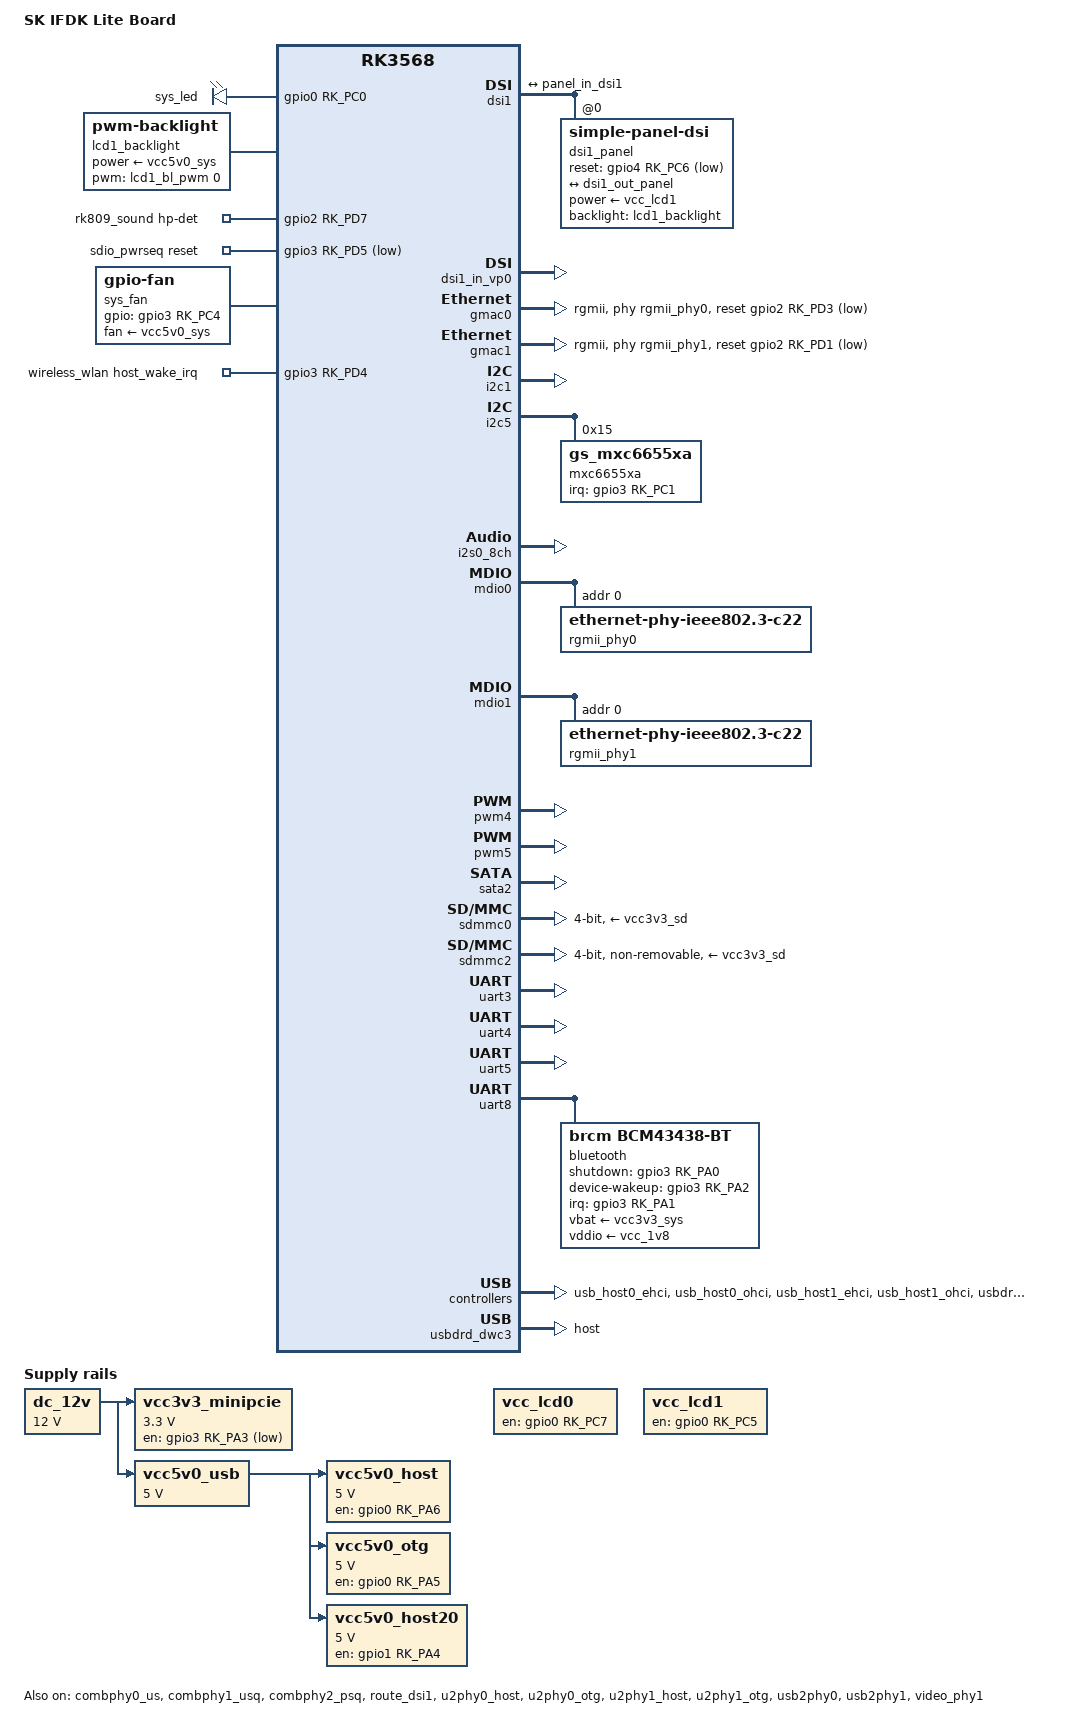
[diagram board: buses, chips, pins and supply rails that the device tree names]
// SPDX-License-Identifier: (GPL-2.0+ OR MIT)
/*
* Copyright (c) 2025 Sergey Kharenko
* Copyright (c) 2021 Rockchip Electronics Co., Ltd.
*/

/dts-v1/;

#include <dt-bindings/display/drm_mipi_dsi.h>
#include <dt-bindings/display/rockchip_vop.h>
#include <dt-bindings/gpio/gpio.h>
#include <dt-bindings/input/rk-input.h>
#include <dt-bindings/leds/common.h>
#include <dt-bindings/pinctrl/rockchip.h>
#include <dt-bindings/pwm/pwm.h>
#include <dt-bindings/sensor-dev.h>
#include "rk3568.dtsi"
#include "rk3568-linux.dtsi"
#include "rk3568-sk-ifdk-lite-core.dtsi"

/ {
	model = "SK IFDK Lite Board";
	compatible = "sk,ifdk-lite", "rockchip,rk3568";

	dc_12v: dc-12v {
		compatible = "regulator-fixed";
		regulator-name = "dc_12v";
		regulator-always-on;
		regulator-boot-on;
		regulator-min-microvolt = <12000000>;
		regulator-max-microvolt = <12000000>;
	};

	hdmi_sound: hdmi-sound {
		compatible = "simple-audio-card";
		simple-audio-card,format = "i2s";
		simple-audio-card,mclk-fs = <128>;
		simple-audio-card,name = "rockchip,hdmi";

		simple-audio-card,cpu {
				sound-dai = <&i2s0_8ch>;
		};
		simple-audio-card,codec {
				sound-dai = <&hdmi>;
		};
	};

	gpio_leds: gpio-leds {
		compatible = "gpio-leds";
		sys_led: sys-led {
			gpios = <&gpio0 RK_PC0 GPIO_ACTIVE_HIGH>;
			linux,default-trigger = "heartbeat";
			pinctrl-names = "default";
			pinctrl-0 = <&sys_led_pin>;
		};
	};

	lcd1_backlight: lcd1-backlight {
		compatible = "pwm-backlight";
		brightness-levels = <
			0  20  20  21  21  22  22  23
			23  24  24  25  25  26  26  27
			27  28  28  29  29  30  30  31
			31  32  32  33  33  34  34  35
			35  36  36  37  37  38  38  39
			40  41  42  43  44  45  46  47
			48  49  50  51  52  53  54  55
			56  57  58  59  60  61  62  63
			64  65  66  67  68  69  70  71
			72  73  74  75  76  77  78  79
			80  81  82  83  84  85  86  87
			88  89  90  91  92  93  94  95
			96  97  98  99 100 101 102 103
			104 105 106 107 108 109 110 111
			112 113 114 115 116 117 118 119
			120 121 122 123 124 125 126 127
			128 129 130 131 132 133 134 135
			136 137 138 139 140 141 142 143
			144 145 146 147 148 149 150 151
			152 153 154 155 156 157 158 159
			160 161 162 163 164 165 166 167
			168 169 170 171 172 173 174 175
			176 177 178 179 180 181 182 183
			184 185 186 187 188 189 190 191
			192 193 194 195 196 197 198 199
			200 201 202 203 204 205 206 207
			208 209 210 211 212 213 214 215
			216 217 218 219 220 221 222 223
			224 225 226 227 228 229 230 231
			232 233 234 235 236 237 238 239
			240 241 242 243 244 245 246 247
			248 249 250 251 252 253 254 255
		>;
		default-brightness-level = <200>;
		power-supply = <&vcc5v0_sys>;
		pwms = <&lcd1_bl_pwm 0 20000 0>;
	};

	rk809_sound: rk809-sound {
		status = "okay";
		compatible = "rockchip,multicodecs-card";
		rockchip,card-name = "rockchip-rk809";
		hp-det-gpio = <&gpio2 RK_PD7 GPIO_ACTIVE_HIGH>;
		rockchip,format = "i2s";
		rockchip,mclk-fs = <256>;
		rockchip,cpu = <&i2s1_8ch>;
		rockchip,codec = <&rk809_codec>;
		pinctrl-names = "default";
		pinctrl-0 = <&hp_det>;
	};

	sdio_pwrseq: sdio-pwrseq {
		compatible = "mmc-pwrseq-simple";
		pinctrl-names = "default";
		pinctrl-0 = <&wifi_poweren_gpio>;
		reset-gpios = <&gpio3 RK_PD5 GPIO_ACTIVE_LOW>;
		post-power-on-delay-ms = <200>;
	};

	sys_fan: sys-fan {
		compatible = "gpio-fan";
		#cooling-cells = <2>;
		fan-supply = <&vcc5v0_sys>;
        gpio-fan,speed-map = <0 0>, <1 1>;
		gpios = <&gpio3 RK_PC4 GPIO_ACTIVE_HIGH>;
        pinctrl-names = "default";
		pinctrl-0 = <&sys_fan_pin>;
	};

	vcc_lcd0: vcc-lcd0 {
		compatible = "regulator-fixed";
		regulator-name = "vcc_lcd0";
		regulator-boot-on;
		enable-active-high;
		pinctrl-names = "default";
		pinctrl-0 = <&lcd0_pwren>;
		gpios = <&gpio0 RK_PC7 GPIO_ACTIVE_HIGH>;
		regulator-state-mem {
			regulator-off-in-suspend;
		};
	};

	vcc_lcd1: vcc-lcd1 {
		compatible = "regulator-fixed";
		regulator-name = "vcc_lcd1";
		regulator-boot-on;
		enable-active-high;
		pinctrl-names = "default";
		pinctrl-0 = <&lcd1_pwren>;
		gpios = <&gpio0 RK_PC5 GPIO_ACTIVE_HIGH>;
		regulator-state-mem {
			regulator-off-in-suspend;
		};
	};

	vcc3v3_minipcie: vcc3v3-minipcie-regulator {
		compatible = "regulator-fixed";
		regulator-name = "vcc3v3_minipcie";
		regulator-boot-on;
		regulator-min-microvolt = <3300000>;
		regulator-max-microvolt = <3300000>;		
		pinctrl-names = "default";
		pinctrl-0 = <&minipcie_pwren>;
		gpios = <&gpio3 RK_PA3 GPIO_ACTIVE_LOW>;
		vin-supply = <&dc_12v>;
	};

	vcc5v0_host: vcc5v0-host-regulator {
		compatible = "regulator-fixed";
		regulator-name = "vcc5v0_host";
		regulator-boot-on;
		regulator-always-on;
		regulator-min-microvolt = <5000000>;
		regulator-max-microvolt = <5000000>;
		enable-active-high;
		gpios = <&gpio0 RK_PA6 GPIO_ACTIVE_HIGH>;
		vin-supply = <&vcc5v0_usb>;
		pinctrl-names = "default";
		pinctrl-0 = <&vcc5v0_host_en>;
	};

	vcc5v0_otg: vcc5v0-otg-regulator {
		compatible = "regulator-fixed";
		regulator-name = "vcc5v0_otg";
		regulator-boot-on;
		regulator-always-on;
		regulator-min-microvolt = <5000000>;
		regulator-max-microvolt = <5000000>;
		enable-active-high;
		gpios = <&gpio0 RK_PA5 GPIO_ACTIVE_HIGH>;
		vin-supply = <&vcc5v0_usb>;
		pinctrl-names = "default";
		pinctrl-0 = <&vcc5v0_otg_en>;
	};

	vcc5v0_host20: vcc5v0-host20-regulator {
		compatible = "regulator-fixed";
		regulator-name = "vcc5v0_host20";
		regulator-boot-on;
		regulator-always-on;
		regulator-min-microvolt = <5000000>;
		regulator-max-microvolt = <5000000>;
		enable-active-high;
		gpios = <&gpio1 RK_PA4 GPIO_ACTIVE_HIGH>;
		vin-supply = <&vcc5v0_usb>;
		pinctrl-names = "default";
		pinctrl-0 = <&vcc5v0_host20_en>;
	};

	vcc5v0_usb: vcc5v0-usb {
		compatible = "regulator-fixed";
		regulator-name = "vcc5v0_usb";
		regulator-always-on;
		regulator-boot-on;
		regulator-min-microvolt = <5000000>;
		regulator-max-microvolt = <5000000>;
		vin-supply = <&dc_12v>;
	};

	wireless_wlan: wireless-wlan {
		compatible = "wlan-platdata";
		rockchip,grf = <&grf>;
		clocks = <&rk809 1>;
		clock-names = "clk_wifi";
		wifi_chip_type = "ap6212";
		pinctrl-names = "default";
		pinctrl-0 = <&wifi_host_wake_irq>;
		WIFI,host_wake_irq = <&gpio3 RK_PD4 GPIO_ACTIVE_HIGH>;
	};
};

&can1 {
	pinctrl-names = "default";
	pinctrl-0 = <&can1m1_pins>;
	status = "disabled";
};

&combphy0_us {
	status = "okay";
};

&combphy1_usq {
	status = "okay";
};

&combphy2_psq {
	status = "okay";
};

&dsi0 {
	status = "disabled";
};

&dsi1 {
	status = "okay";

	dsi1_panel: main-panel@0 {
        compatible = "simple-panel-dsi";
        reg = <0>;
		rotation = <270>;
		power-supply = <&vcc_lcd1>;
        backlight = <&lcd1_backlight>;
        pinctrl-names = "default";
        pinctrl-0 = <&lcd1_rst>;
        reset-gpios = <&gpio4 RK_PC6 GPIO_ACTIVE_LOW>;
        panel-name = "AML08012001920-01";
        reset-delay-ms = <20>;
        enable-delay-ms = <10>;
        prepare-delay-ms = <10>;
        unprepare-delay-ms = <10>;
        disable-delay-ms = <60>;
        init-delay-ms = <200>;
        dsi,flags = <(MIPI_DSI_MODE_VIDEO | MIPI_DSI_MODE_VIDEO_BURST |
                MIPI_DSI_MODE_LPM | MIPI_DSI_MODE_NO_EOT_PACKET)>;
        dsi,format = <MIPI_DSI_FMT_RGB888>;
        dsi,lanes  = <4>;
        panel-init-sequence = [
			05 0A 01 10

			13 00 02 B0 05
			13 00 02 B3 52
			13 00 02 B0 01
			13 00 02 C8 00
			13 00 02 C9 00
			13 00 02 CC 26
			13 00 02 CD 26
			13 00 02 DC 00
			13 00 02 DD 00
			13 00 02 E0 26
			13 00 02 E1 26
			13 00 02 B0 03 
			13 00 02 C3 2A 
			13 00 02 E7 2A 
			13 00 02 C5 2A 
			13 00 02 DE 2A 
			13 00 02 B0 00
			13 00 02 B6 03
			13 00 02 BA 87
			13 00 02 BD 78
			13 00 02 BF 15
			13 00 02 C0 12 
			13 00 02 C2 0C 
			13 00 02 C3 02 
			13 00 02 C4 0C 
			13 00 02 C5 02
			13 00 02 B0 06 
			13 00 02 C0 A5 
			13 00 02 D5 20
			13 00 02 C0 00
			13 00 02 B0 02
			13 00 02 C0 00
			13 00 02 C1 02
			13 00 02 C2 06
			13 00 02 C3 16 
			13 00 02 C4 0e 
			13 00 02 C5 18
			13 00 02 C6 26
			13 00 02 C7 32 
			13 00 02 C8 3F 
			13 00 02 C9 3F 
			13 00 02 CA 3F 
			13 00 02 CB 3F 
			13 00 02 CC 3D 
			13 00 02 CD 2F 
			13 00 02 CE 2F 
			13 00 02 CF 2F 
			13 00 02 D0 07
			13 00 02 D2 00
			13 00 02 D3 02
			13 00 02 D4 06

			13 00 02 D5 12
			13 00 02 D6 0A
			13 00 02 D7 14
			13 00 02 D8 22
			13 00 02 D9 2E
			13 00 02 DA 3D
			13 00 02 DB 3F
			13 00 02 DC 3F
			13 00 02 DD 3F
			13 00 02 DE 3D
			13 00 02 DF 2F
			13 00 02 E0 2F
			13 00 02 E1 2F
			13 00 02 E2 07
			13 00 02 B0 07
			13 00 02 B1 00
			13 00 02 B2 19
			13 00 02 B3 31
			13 00 02 B4 5A
			13 00 02 B5 7C
			13 00 02 B6 9C
			13 00 02 B7 D3
			13 00 02 B8 0E
			13 00 02 B9 7D
			13 00 02 BA E0
			13 00 02 BB 7A
			13 00 02 BC E6
			13 00 02 BD E9
			13 00 02 BE 41
			13 00 02 BF 91
			13 00 02 C0 B0
			13 00 02 C1 CF
			13 00 02 C2 DC
			13 00 02 C3 E9
			13 00 02 C4 EF
			13 00 02 C5 F5
			13 00 02 C6 FA
			13 00 02 C7 FB
			13 00 02 C8 FC
			13 00 02 C9 00
			13 00 02 CA 01
			13 00 02 CB 5A
			13 00 02 CC BF
			13 00 02 CD FF
			13 00 02 CE FF
			13 00 02 B0 08
			13 00 02 B1 00
			13 00 02 B2 19
			13 00 02 B3 31
			13 00 02 B4 5A
			13 00 02 B5 7C
			13 00 02 B6 9C
			13 00 02 B7 D3

			13 00 02 B8 0E
			13 00 02 B9 7D
			13 00 02 BA E0
			13 00 02 BB 7A
			13 00 02 BC E6
			13 00 02 BD E9
			13 00 02 BE 41
			13 00 02 BF 91
			13 00 02 C0 B0
			13 00 02 C1 CF
			13 00 02 C2 DC
			13 00 02 C3 E9
			13 00 02 C4 EF
			13 00 02 C5 F5
			13 00 02 C6 FA
			13 00 02 C7 FB
			13 00 02 C8 FC
			13 00 02 C9 00
			13 00 02 CA 01
			13 00 02 CB 5A
			13 00 02 CC BF
			13 00 02 CD FF
			13 00 02 CE FF
			13 00 02 B0 09
			13 00 02 B1 00
			13 00 02 B2 19
			13 00 02 B3 31
			13 00 02 B4 5A
			13 00 02 B5 7C
			13 00 02 B6 9C
			13 00 02 B7 D3
			13 00 02 B8 0E
			13 00 02 B9 7D
			13 00 02 BA E0
			13 00 02 BB 7A
			13 00 02 BC E6
			13 00 02 BD E9
			13 00 02 BE 41
			13 00 02 BF 91
			13 00 02 C0 B0
			13 00 02 C1 CF
			13 00 02 C2 DC
			13 00 02 C3 E9
			13 00 02 C4 EF
			13 00 02 C5 F5
			13 00 02 C6 FA
			13 00 02 C7 FB
			13 00 02 C8 FC
			13 00 02 C9 00
			13 00 02 CA 01
			13 00 02 CB 5A
			13 00 02 CC BF
			13 00 02 CD FF
			13 00 02 CE FF

			13 00 02 B0 0A
			13 00 02 B1 00
			13 00 02 B2 19
			13 00 02 B3 31
			13 00 02 B4 5A
			13 00 02 B5 7C
			13 00 02 B6 9C
			13 00 02 B7 D3
			13 00 02 B8 0E
			13 00 02 B9 7D
			13 00 02 BA E0
			13 00 02 BB 7A
			13 00 02 BC E6
			13 00 02 BD E9
			13 00 02 BE 41
			13 00 02 BF 91
			13 00 02 C0 B0
			13 00 02 C1 CF
			13 00 02 C2 DC
			13 00 02 C3 E9
			13 00 02 C4 EF
			13 00 02 C5 F5
			13 00 02 C6 FA
			13 00 02 C7 FC
			13 00 02 C8 FC
			13 00 02 C9 00
			13 00 02 CA 01
			13 00 02 CB 5A
			13 00 02 CC BF
			13 00 02 CD FF
			13 00 02 CE FF
			13 00 02 B0 0B
			13 00 02 B1 00
			13 00 02 B2 19
			13 00 02 B3 31
			13 00 02 B4 5A
			13 00 02 B5 7C
			13 00 02 B6 9C
			13 00 02 B7 D3
			13 00 02 B8 0E
			13 00 02 B9 7D
			13 00 02 BA E0
			13 00 02 BB 7A
			13 00 02 BC E6
			13 00 02 BD E9
			13 00 02 BE 41
			13 00 02 BF 91
			13 00 02 C0 B0
			13 00 02 C1 CF
			13 00 02 C2 DC
			13 00 02 C3 E9
			13 00 02 C4 EF
			13 00 02 C5 F5
			13 00 02 C6 FA

			13 00 02 C7 FC
			13 00 02 C8 FC
			13 00 02 C9 00
			13 00 02 CA 01
			13 00 02 CB 5A
			13 00 02 CC BF
			13 00 02 CD FF
			13 00 02 CE FF
			13 00 02 B0 0C
			13 00 02 B1 00
			13 00 02 B2 19
			13 00 02 B3 31
			13 00 02 B4 5A
			13 00 02 B5 7C
			13 00 02 B6 9C
			13 00 02 B7 D3
			13 00 02 B8 0E
			13 00 02 B9 7D
			13 00 02 BA E0
			13 00 02 BB 7A
			13 00 02 BC E6
			13 00 02 BD E9
			13 00 02 BE 41
			13 00 02 BF 91
			13 00 02 C0 B0
			13 00 02 C1 CF
			13 00 02 C2 DC
			13 00 02 C3 E9
			13 00 02 C4 EF
			13 00 02 C5 F5
			13 00 02 C6 FA
			13 00 02 C7 FC
			13 00 02 C8 FC
			13 00 02 C9 00
			13 00 02 CA 01
			13 00 02 CB 5A
			13 00 02 CC BF
			13 00 02 CD FF
			13 0A 02 CE FF

            05 64 01 11
            05 32 01 29
        ];
        panel-exit-sequence = [
            05 00 01 28
            05 00 01 10
        ];
        display-timings {
            native-mode = <&dsi1_timing0>;
            dsi1_timing0: timing0 {
                clock-frequency = <156800000>;
                hactive = <1200>;
                vactive = <1920>;
                hfront-porch = <110>;
                hsync-len = <1>;
                hback-porch = <32>;
                vfront-porch = <11>;
                vsync-len = <1>;
                vback-porch = <14>;
                hsync-active = <0>;
                vsync-active = <0>;
                de-active = <0>;
                pixelclk-active = <1>;
            };
        };
        ports {
            #address-cells = <1>;
            #size-cells = <0>;
            port@0 {
                reg = <0>;
                panel_in_dsi1: endpoint {
                    remote-endpoint = <&dsi1_out_panel>;
                };
            };
        };
    };

    ports {
		#address-cells = <1>;
		#size-cells = <0>;

		dsi1_out: port@1 {
			reg = <1>;
			dsi1_out_panel: endpoint {
				remote-endpoint = <&panel_in_dsi1>;
			};
		};
	};
};

&dsi1_in_vp0 {
	status = "okay";
};

&dsi1_in_vp1 {
	status = "disabled";
};

&gmac0 {
	phy-mode = "rgmii";
	clock_in_out = "input";

	snps,reset-gpio = <&gpio2 RK_PD3 GPIO_ACTIVE_LOW>;
	snps,reset-active-low;
	/* Reset time is 20ms, 100ms for rtl8211f */
	snps,reset-delays-us = <0 20000 100000>;

	assigned-clocks = <&cru SCLK_GMAC0_RX_TX>, <&cru SCLK_GMAC0>;
	assigned-clock-parents = <&cru SCLK_GMAC0_RGMII_SPEED>, <&gmac0_clkin>;
	assigned-clock-rates = <0>, <125000000>;

	pinctrl-names = "default";
	pinctrl-0 = <&gmac0_miim
		     &gmac0_tx_bus2
		     &gmac0_rx_bus2
		     &gmac0_rgmii_clk
		     &gmac0_rgmii_bus
			 &gmac0_clkinout>;

	tx_delay = <0x3c>;
	rx_delay = <0x2f>;

	phy-handle = <&rgmii_phy0>;
	status = "okay";
};

&gmac1 {
	phy-mode = "rgmii";
	clock_in_out = "input";

	snps,reset-gpio = <&gpio2 RK_PD1 GPIO_ACTIVE_LOW>;
	snps,reset-active-low;
	/* Reset time is 20ms, 100ms for rtl8211f */
	snps,reset-delays-us = <0 20000 100000>;

	assigned-clocks = <&cru SCLK_GMAC1_RX_TX>, <&cru SCLK_GMAC1>;
	assigned-clock-parents = <&cru SCLK_GMAC1_RGMII_SPEED>, <&gmac1_clkin>;
	assigned-clock-rates = <0>, <125000000>;

	pinctrl-names = "default";
	pinctrl-0 = <&gmac1m1_miim
		     &gmac1m1_tx_bus2
		     &gmac1m1_rx_bus2
		     &gmac1m1_rgmii_clk
		     &gmac1m1_rgmii_bus
			 &gmac1m1_clkinout>;

	tx_delay = <0x4f>;
	rx_delay = <0x26>;

	phy-handle = <&rgmii_phy1>;
	status = "okay";
};

// &hdmi {
// 	status = "okay";
// 	cec-enable = "true";
// 	pinctrl-names = "default";
// 	pinctrl-0 = <&hdmitxm0_cec &hdmitx_scl &hdmitx_sda>;
// 	rockchip,phy-table =
// 		<92812500  0x8009 0x0000 0x0270>,
// 		<165000000 0x800b 0x0000 0x026d>,
// 		<185625000 0x800b 0x0000 0x01ed>,
// 		<297000000 0x800b 0x0000 0x01ad>,
// 		<594000000 0x8029 0x0000 0x0088>,
// 		<000000000 0x0000 0x0000 0x0000>;
// };

&hdmi_in_vp0 {
	status = "disabled";
};

// &hdmi_in_vp1 {
// 	status = "okay";
// };

&i2c1 {
	status = "okay";
};

&i2c5 {
	status = "okay";

	mxc6655xa: mxc6655xa@15 {
		status = "okay";
		compatible = "gs_mxc6655xa";
		pinctrl-names = "default";
		pinctrl-0 = <&mxc6655xa_irq_gpio>;
		reg = <0x15>;
		irq-gpio = <&gpio3 RK_PC1 IRQ_TYPE_LEVEL_LOW>;
		irq_enable = <0>;
		poll_delay_ms = <30>;
		type = <SENSOR_TYPE_ACCEL>;
		power-off-in-suspend = <1>;
		layout = <1>;
	};
};

&i2s0_8ch {
	status = "okay";
};

&mdio0 {
	rgmii_phy0: phy@0 {
		compatible = "ethernet-phy-ieee802.3-c22";
		reg = <0x0>;
	};
};

&mdio1 {
	rgmii_phy1: phy@0 {
		compatible = "ethernet-phy-ieee802.3-c22";
		reg = <0x0>;
	};
};

&pinctrl {
    fan {
        sys_fan_pin: sys-fan-pin {
			rockchip,pins = <3 RK_PC4 RK_FUNC_GPIO &pcfg_pull_none>;
		};
    };

	headphone {
		hp_det: hp-det {
			rockchip,pins = <2 RK_PD7 RK_FUNC_GPIO &pcfg_pull_none>;
		};
	};

	lcd {
		/omit-if-no-ref/
		lcd0_bl_en: lcd0-bl-en {
			rockchip,pins = <4 RK_PC5 RK_FUNC_GPIO &pcfg_pull_none>;
		};

		/omit-if-no-ref/
		lcd1_bl_en: lcd1-bl-en {
			rockchip,pins = <3 RK_PA5 RK_FUNC_GPIO &pcfg_pull_none>;
		};

		/omit-if-no-ref/
		lcd0_rst: lcd0-rst {
			rockchip,pins = <3 RK_PB5 RK_FUNC_GPIO &pcfg_pull_none>;
		};
		
		/omit-if-no-ref/
		lcd1_rst: lcd1-rst {
			rockchip,pins = <4 RK_PC6 RK_FUNC_GPIO &pcfg_pull_none>;
		};

		lcd0_pwren: lcd0-pwren {
			rockchip,pins = <0 RK_PC7 RK_FUNC_GPIO &pcfg_pull_none>;
		};

		lcd1_pwren: lcd1-pwren {
			rockchip,pins = <0 RK_PC5 RK_FUNC_GPIO &pcfg_pull_none>;
		};
	};

	leds {
		sys_led_pin: sys-led-pin {
			rockchip,pins = <0 RK_PC0 RK_FUNC_GPIO &pcfg_pull_none>;
		};
	};

	minipcie {
		minipcie_pwren: minipcie-pwren {
			rockchip,pins = <3 RK_PA3 RK_FUNC_GPIO &pcfg_pull_none>;
		};
	};

	mxc6655xa {
		mxc6655xa_irq_gpio: mxc6655xa_irq_gpio {
			rockchip,pins = <3 RK_PC1 RK_FUNC_GPIO &pcfg_pull_none>;
		};
	};

	rs485 {
		/omit-if-no-ref/
		rs485_en: rs485-en {
			rockchip,pins = <3 RK_PA6 RK_FUNC_GPIO &pcfg_pull_none>;
		};
	};

	speader {
		/omit-if-no-ref/
		spk_en: spk-en {
			rockchip,pins = <3 RK_PC5 RK_FUNC_GPIO &pcfg_pull_none>;
		};
	};

	sdio-pwrseq {
		wifi_enable_h: wifi-enable-h {
			rockchip,pins = <3 RK_PD5 RK_FUNC_GPIO &pcfg_pull_none>;
		};
	};

	touch {
		/omit-if-no-ref/
		touch_gpio: touch-gpio {
			rockchip,pins =
				<0 RK_PB5 RK_FUNC_GPIO &pcfg_pull_up>,
				<0 RK_PB6 RK_FUNC_GPIO &pcfg_pull_none>;
		};
	};

	usb {
		vcc5v0_host20_en: vcc5v0-host20-en {
			rockchip,pins = <1 RK_PA4 RK_FUNC_GPIO &pcfg_pull_none>;
		};

		vcc5v0_host_en: vcc5v0-host-en {
			rockchip,pins = <0 RK_PA6 RK_FUNC_GPIO &pcfg_pull_none>;
		};

		vcc5v0_otg_en: vcc5v0-otg-en {
			rockchip,pins = <0 RK_PA5 RK_FUNC_GPIO &pcfg_pull_none>;
		};
	};

	wireless-wlan {
		wifi_host_wake_irq: wifi-host-wake-irq {
			rockchip,pins = <3 RK_PD4 RK_FUNC_GPIO &pcfg_pull_down>;
		};

		wifi_poweren_gpio: wifi-poweren-gpio {
			rockchip,pins = <3 RK_PD5 RK_FUNC_GPIO &pcfg_pull_up>;
		};
	};

	wireless-bluetooth {
		bt_gpios: bt-gpios {
			rockchip,pins =
				<3 RK_PA0 RK_FUNC_GPIO &pcfg_pull_none>,
				<3 RK_PA1 RK_FUNC_GPIO &pcfg_pull_none>,
				<3 RK_PA2 RK_FUNC_GPIO &pcfg_pull_none>;
		};
	};
};

lcd0_bl_pwm: &pwm4 {
	status = "okay";
};

lcd1_bl_pwm: &pwm5 {
	status = "okay";
};

&route_dsi1 {
	status = "okay";
};

// &route_hdmi {
// 	status = "okay";
// };

&sata2 {
	status = "okay";
};

&sdmmc0 {
	max-frequency = <150000000>;
	no-sdio;
	no-mmc;
	bus-width = <4>;
	cap-mmc-highspeed;
	cap-sd-highspeed;
	disable-wp;
	sd-uhs-sdr104;
	vmmc-supply = <&vcc3v3_sd>;
	vqmmc-supply = <&vccio_sd>;
	pinctrl-names = "default";
	pinctrl-0 = <&sdmmc0_bus4 &sdmmc0_clk &sdmmc0_cmd &sdmmc0_det>;
	status = "okay";
};

&sdmmc2 {
	max-frequency = <200000000>;
	bus-width = <4>;
	disable-wp;
	supports-sdio;
	cap-sdio-irq;
	sd-uhs-sdr104;
	keep-power-in-suspend;
	non-removable;
	mmc-pwrseq = <&sdio_pwrseq>;
	vmmc-supply = <&vcc3v3_sd>;
	vqmmc-supply = <&vccio_sd>;
	pinctrl-names = "default";
	pinctrl-0 = <&sdmmc2m0_bus4 &sdmmc2m0_cmd &sdmmc2m0_clk>;
	status = "okay";
};

&uart3 {
	pinctrl-0 = <&uart3m1_xfer>;
	status = "okay";
};

&uart4 {
	pinctrl-0 = <&uart4m1_xfer>;
	status = "okay";
};

&uart5 {
	pinctrl-0 = <&uart5m1_xfer>;
	status = "okay";
};

&uart8 {
	pinctrl-names = "default";
	pinctrl-0 = <&uart8m0_xfer &uart8m0_ctsn &uart8m0_rtsn>;
	uart-has-rtscts;
	status = "okay";

	bluetooth {
		compatible = "brcm,bcm43438-bt";
		clocks = <&rk809 1>;
		clock-names = "lpo";
		pinctrl-names = "default";
		pinctrl-0 = <&bt_gpios>;
		shutdown-gpios = <&gpio3 RK_PA0 GPIO_ACTIVE_HIGH>;
		device-wakeup-gpios = <&gpio3 RK_PA2 GPIO_ACTIVE_HIGH>;
		interrupt-parent = <&gpio3>;
		interrupts = <RK_PA1 IRQ_TYPE_EDGE_FALLING>;
		vbat-supply = <&vcc3v3_sys>;
		vddio-supply = <&vcc_1v8>;
	};
};

&u2phy0_host {
	phy-supply = <&vcc5v0_host>;
	status = "okay";
};

&u2phy0_otg {
	dr_mode = "host";
	vbus-supply = <&vcc5v0_otg>;
	status = "okay";
};

&u2phy1_host {
	phy-supply = <&vcc5v0_host>;
	status = "okay";
};

&u2phy1_otg {
	dr_mode = "host";
	vbus-supply = <&vcc5v0_host20>;
	status = "okay";
};

&usb2phy0 {
	status = "okay";
};

&usb2phy1 {
	status = "okay";
};

&usb_host0_ehci {
	status = "okay";
};

&usb_host0_ohci {
	status = "okay";
};

&usb_host1_ehci {
	status = "okay";
};

&usb_host1_ohci {
	status = "okay";
};

&usbdrd_dwc3 {
	dr_mode = "host";
	extcon = <&usb2phy0>;
	status = "okay";
};

&usbdrd30 {
	status = "okay";
};

&usbhost_dwc3 {
	status = "okay";
};

&usbhost30 {
	status = "okay";
};

&video_phy0 {
	status = "disabled";
};

&video_phy1 {
	status = "okay";
};

&vcc5v0_sys {
	vin-supply = <&dc_12v>;
};

&vcc3v3_sys {
	vin-supply = <&dc_12v>;
};

// &vp0 {
// 	cursor-win-id = <ROCKCHIP_VOP2_SMART0>;
// 	rockchip,plane-mask = <(1 << ROCKCHIP_VOP2_SMART0 | 1 << ROCKCHIP_VOP2_ESMART0 )>;
// 	rockchip,primary-plane = <ROCKCHIP_VOP2_ESMART0>;
// };

// &vp1 {
// 	cursor-win-id = <ROCKCHIP_VOP2_SMART1>;
// 	rockchip,plane-mask = <(1 << ROCKCHIP_VOP2_SMART1 | 1 << ROCKCHIP_VOP2_ESMART1 )>;
// 	rockchip,primary-plane = <ROCKCHIP_VOP2_ESMART1>;
// };

// &vp2 {
// 	status = "disabled";
// };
